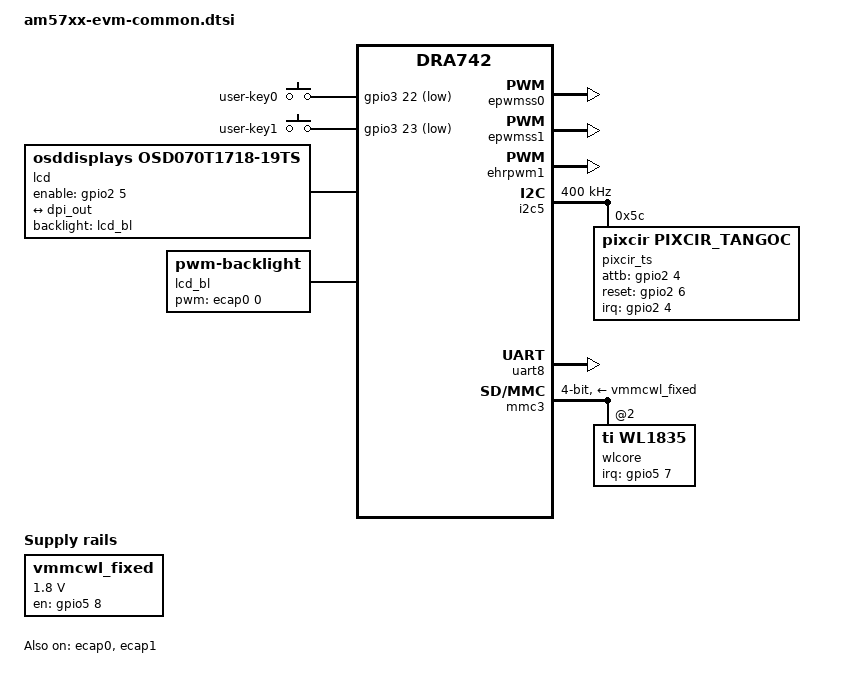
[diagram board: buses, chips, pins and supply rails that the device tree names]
/*
 * Copyright (C) 2015-2016 Texas Instruments Incorporated - http://www.ti.com/
 *
 * This program is free software; you can redistribute it and/or modify
 * it under the terms of the GNU General Public License version 2 as
 * published by the Free Software Foundation.
 */

#include <dt-bindings/gpio/gpio.h>
#include <dt-bindings/input/input.h>

/ {
	compatible = "ti,am5728-evm", "ti,am572x-beagle-x15", "ti,am5728", "ti,dra742", "ti,dra74", "ti,dra7";

	gpio_keys {
		compatible = "gpio-keys";
		#address-cells = <1>;
		#size-cells = <0>;
		autorepeat;

		USER1 {
			label = "user-key0";
			linux,code = <KEY_PROG1>;
			gpios = <&gpio3 22 GPIO_ACTIVE_LOW>;
		};

		USER2 {
			label = "user-key1";
			linux,code = <KEY_PROG2>;
			gpios = <&gpio3 23 GPIO_ACTIVE_LOW>;
		};
	};

	aliases {
		display0 = &lcd0;
		display1 = &hdmi0;
	};

	lcd0: display {
		compatible = "osddisplays,osd070t1718-19ts", "panel-dpi";

		label = "lcd";

		backlight = <&lcd_bl>;

		enable-gpios = <&gpio2 5 GPIO_ACTIVE_HIGH>;

		panel-timing {
			clock-frequency = <9000000>;
			hactive = <480>;
			vactive = <272>;
			hfront-porch = <2>;
			hback-porch = <2>;
			hsync-len = <41>;
			vback-porch = <2>;
			vfront-porch = <2>;
			vsync-len = <10>;
			hsync-active = <0>;
			vsync-active = <0>;
			de-active = <1>;
			pixelclk-active = <1>;
		};

		port {
			lcd_in: endpoint {
				remote-endpoint = <&dpi_out>;
			};
		};
	};

	lcd_bl: backlight {
		compatible = "pwm-backlight";
		pwms = <&ecap0 0 50000 0>;

		brightness-levels = <0 10 50 100 150 200 220 240 255>;

		default-brightness-level = <8>;
	};

	vmmcwl_fixed: fixedregulator-mmcwl {
		compatible = "regulator-fixed";
		regulator-name = "vmmcwl_fixed";
		regulator-min-microvolt = <1800000>;
		regulator-max-microvolt = <1800000>;
		gpio = <&gpio5 8 GPIO_ACTIVE_HIGH>;
		enable-active-high;
	};
};

&dra7_pmx_core {
	ecap1_pins: ecap1_pins {
		pinctrl-single,pins = <
			DRA7XX_CORE_IOPAD(0x3500, (PIN_OUTPUT | MUX_MODE10)) /* vin1a_d3.eCAP1_in_PWM1_out (AH6) */
		>;
	};

	vin4a_reset_pins: vin4a_reset_pins {
		pinctrl-single,pins = <
			DRA7XX_CORE_IOPAD(0x34e0, (PIN_OUTPUT_PULLUP | MUX_MODE14)) /* vin1b_clk1.gpio2_31 (AH7) */
		>;
	};

	spi2_pins: spi2_pins {
		pinctrl-single,pins = <
			DRA7XX_CORE_IOPAD(0x37c0, (INPUT_EN | MUX_MODE0))          /* spi2_sclk.spi2_sclk (A26) */
			DRA7XX_CORE_IOPAD(0x37c4, (INPUT_EN | MUX_MODE0))          /* spi2_d1.spi2_d1 (B22) */
			DRA7XX_CORE_IOPAD(0x37c8, (INPUT_EN | MUX_MODE0))          /* spi2_d0.spi2_d0 (G17) */
			DRA7XX_CORE_IOPAD(0x37cc, (PIN_OUTPUT_PULLUP | MUX_MODE0)) /* spi2_cs0.spi2_cs0 (B24) */
		>;
	};
};

&dss {
	ports {
		#address-cells = <1>;
		#size-cells = <0>;

		port {
			reg = <0>;

			dpi_out: endpoint {
				remote-endpoint = <&lcd_in>;
				data-lines = <24>;
			};
		};
	};
};

&epwmss0 {
	status = "okay";
};

&ecap0 {
	status = "okay";
};

&epwmss1 {
	status = "okay";
};

&ecap1 {
	status = "okay";
	pinctrl-names = "default";
	pinctrl-0 = <&ecap1_pins>;
};

&ehrpwm1 {
	status = "okay";
};

&i2c5 {
	status = "okay";
	clock-frequency = <400000>;

	pixcir_ts@5c {
		compatible = "pixcir,pixcir_tangoc";
		reg = <0x5c>;
		interrupt-parent = <&gpio2>;
		interrupts = <4 0>;

		attb-gpio = <&gpio2 4 GPIO_ACTIVE_HIGH>;
		reset-gpio = <&gpio2 6 GPIO_ACTIVE_HIGH>;

		touchscreen-size-x = <480>;
		touchscreen-size-y = <272>;
	};
};

&uart8 {
	status = "okay";
};

&mmc3 {
	status = "okay";
	vmmc-supply = <&vmmcwl_fixed>;
	bus-width = <4>;
	pinctrl-names = "default";
	cap-power-off-card;
	keep-power-in-suspend;
	ti,non-removable;

	#address-cells = <1>;
	#size-cells = <0>;
	wlcore: wlcore@2 {
		compatible = "ti,wl1835";
		reg = <2>;
		interrupt-parent = <&gpio5>;
		interrupts = <7 IRQ_TYPE_LEVEL_HIGH>;
	};
};
